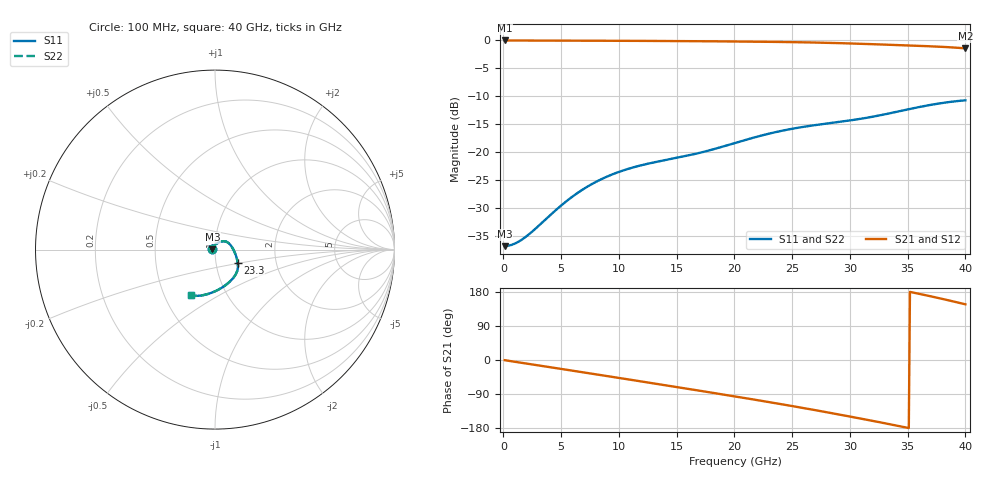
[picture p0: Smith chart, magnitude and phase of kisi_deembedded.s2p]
! B_s8_L1L8_d200: kisi-fdtd, de-embedded with the 2×thru
# Hz S RI R 50
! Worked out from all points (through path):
!   400 points, 100 MHz to 40 GHz, reference 50 ohm
!   highest |S21| = -0.11 dB at 100 MHz (marker M1); lowest = -1.5 dB at 40 GHz (marker M2)
!   group delay of S21, straight-line fit = 14.4 ps
!   lowest |S11| = -36.8 dB at 100 MHz (marker M3), VSWR 1.03, Z = 48.6 + j0.0711 ohm
!   |S11| at or under -10 dB: start of sweep to end of sweep
!   |S22| runs from -36.8 to -10.8 dB; largest |S21 - S12| = 2.2e-07
!   S11 on the Smith chart (normalised r, x): 100 MHz: 0.97, +0.00; 23.3 GHz: 1.27, -0.20; 40 GHz: 0.68, -0.37
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1e8  -0.0144 0.000732  0.9874 -0.00821  0.9874 -0.00821  -0.0144 0.000732
9e8  -0.0135 0.00656  0.9843 -0.0737  0.9843 -0.0737  -0.0135 0.00655
1.8e9  -0.0111 0.0129  0.9753 -0.1467  0.9753 -0.1467  -0.0111 0.0129
4.3e9  0.00255 0.0286  0.9225 -0.3412  0.9225 -0.3412  0.00255 0.0286
6.8e9  0.0219 0.04  0.8327 -0.5213  0.8327 -0.5213  0.0219 0.04
8.2e9  0.0332 0.0441  0.7664 -0.6139  0.7664 -0.6139  0.0332 0.0441
9.7e9  0.0449 0.0464  0.6832 -0.7039  0.6832 -0.7039  0.0449 0.0464
1.34e10  0.072 0.0392  0.4342 -0.8755  0.4342 -0.8755  0.072 0.0392
1.68e10  0.0962 0.0112  0.1667 -0.9583  0.1667 -0.9583  0.0962 0.0112
1.85e10  0.1072 -0.00988  0.0258 -0.9694  0.0258 -0.9694  0.1072 -0.00988
2.01e10  0.116 -0.0319  -0.1078 -0.9606  -0.1078 -0.9606  0.116 -0.0319
2.33e10  0.127 -0.0757  -0.3691 -0.8855  -0.3691 -0.8855  0.127 -0.0757
2.5e10  0.1279 -0.0973  -0.4992 -0.8131  -0.4992 -0.8131  0.1279 -0.0973
2.67e10  0.1239 -0.1187  -0.6179 -0.7181  -0.6179 -0.7181  0.1239 -0.1187
2.85e10  0.1124 -0.1429  -0.7257 -0.5944  -0.7257 -0.5944  0.1124 -0.1429
3.02e10  0.0924 -0.1684  -0.8057 -0.459  -0.8057 -0.459  0.0924 -0.1684
3.18e10  0.0643 -0.194  -0.8586 -0.3188  -0.8586 -0.3188  0.0643 -0.194
3.34e10  0.0276 -0.2185  -0.8876 -0.1699  -0.8876 -0.1699  0.0276 -0.2185
3.52e10  -0.0198 -0.2407  -0.8898 0.00409  -0.8898 0.00409  -0.0198 -0.2407
3.69e10  -0.0646 -0.2535  -0.8593 0.1711  -0.8593 0.1711  -0.0646 -0.2535
3.85e10  -0.1029 -0.2578  -0.7965 0.3252  -0.7965 0.3252  -0.103 -0.2578
4e10  -0.1362 -0.2541  -0.703 0.4578  -0.703 0.4578  -0.1362 -0.2541
